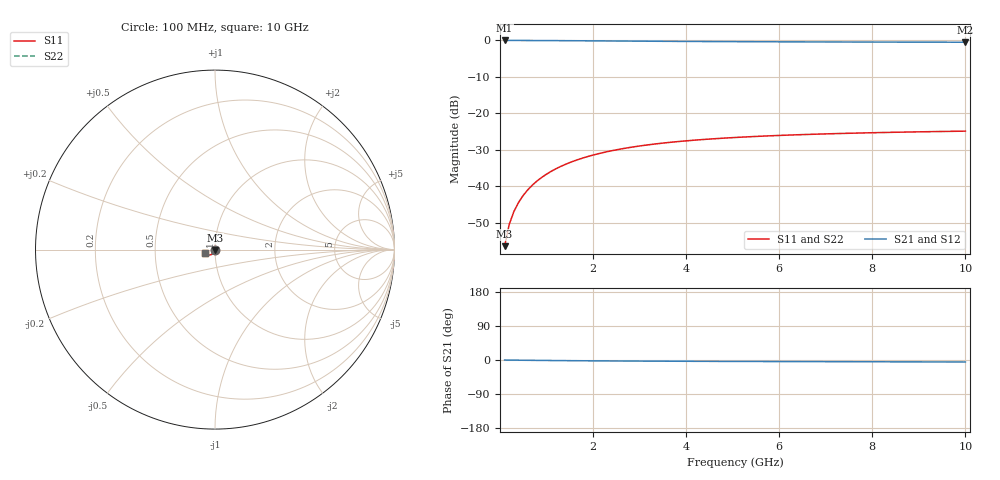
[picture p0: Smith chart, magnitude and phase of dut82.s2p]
! Touchstone file exported from HFSS 2024.1.0
!  File:  C:/UserFiles/LocalFiles/RDL_TSV_Batchsim/temp_TSV1_82_1778751014.aedt
!  Generated:  05:38:06 PM May 14, 2026
!  Design:  TSV1
!  Project:  temp_TSV1_82_1778751014
!  Setup:  Setup1
!  Solution:  Sweep
! Variables:
!  dtsv = 11.63um
!  hbump = 3um
!  htsv = 82.07um
!  lrdl = 252.1521522um
!  p = 40
!  p1 = 43.57um
!  t = 500um
!  trdl = 3um
!  wrdl = 24.89489489um
# GHz S MA R 50.000000
! Terminal data exported
! Port[1] = TSV22_T1
! Port[2] = TSV22_T2
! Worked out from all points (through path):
!   100 points, 100 MHz to 10 GHz, reference 50 ohm
!   highest |S21| = 0.00 dB at 100 MHz (marker M1); lowest = -0.5 dB at 10 GHz (marker M2)
!   lowest |S11| = -56.5 dB at 100 MHz (marker M3), VSWR 1.00, Z = 50 - j0.15 ohm
!   |S11| at or under -10 dB: start of sweep to end of sweep
!   |S22| runs from -56.5 to -24.9 dB; largest |S21 - S12| = 3.2e-15
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0.1  0.001501 -87.3  0.9998 -0.1  0.9998 -0.1  0.001501 -87.3
! Gamma 0 0 0 0
! Port Impedance 50 0 50 0
0.2  0.002998 -90.7  0.9997 -0.3  0.9997 -0.3  0.002998 -90.7
0.3  0.004495 -92.9  0.9995 -0.4  0.9995 -0.4  0.004495 -92.9
0.4  0.005988 -94.7  0.9992 -0.5  0.9992 -0.5  0.005988 -94.7
0.5  0.007472 -96.5  0.9988 -0.6  0.9988 -0.6  0.007472 -96.5
0.6  0.008942 -98.1  0.9984 -0.8  0.9984 -0.8  0.008942 -98.1
0.7  0.01039 -99.7  0.9979 -0.9  0.9979 -0.9  0.01039 -99.7
0.8  0.01182 -101.3  0.9973 -1.0  0.9973 -1.0  0.01182 -101.3
0.9  0.01323 -102.9  0.9967 -1.1  0.9967 -1.1  0.01323 -102.9
1.1  0.01597 -105.9  0.9953 -1.3  0.9953 -1.3  0.01597 -105.9
1.4  0.01985 -110.1  0.9929 -1.7  0.9929 -1.7  0.01985 -110.1
1.6  0.02227 -112.8  0.9911 -1.9  0.9911 -1.9  0.02227 -112.8
1.8  0.02457 -115.4  0.9892 -2.0  0.9892 -2.0  0.02457 -115.4
2.1  0.02775 -119.0  0.9864 -2.3  0.9864 -2.3  0.02775 -119.0
2.5  0.03154 -123.5  0.9825 -2.6  0.9825 -2.6  0.03154 -123.5
2.9  0.03484 -127.5  0.9788 -2.8  0.9788 -2.8  0.03484 -127.5
3.4  0.03837 -132.0  0.9744 -3.1  0.9744 -3.1  0.03837 -132.0
4.2  0.04289 -138.1  0.9682 -3.5  0.9682 -3.5  0.04289 -138.1
5.1  0.04675 -143.6  0.9625 -3.8  0.9625 -3.8  0.04675 -143.6
6.7  0.0515 -151.3  0.9549 -4.3  0.9549 -4.3  0.0515 -151.3
8.4  0.05479 -157.5  0.9493 -4.8  0.9493 -4.8  0.05479 -157.5
10  0.05691 -162.1  0.9456 -5.3  0.9456 -5.3  0.05691 -162.1
